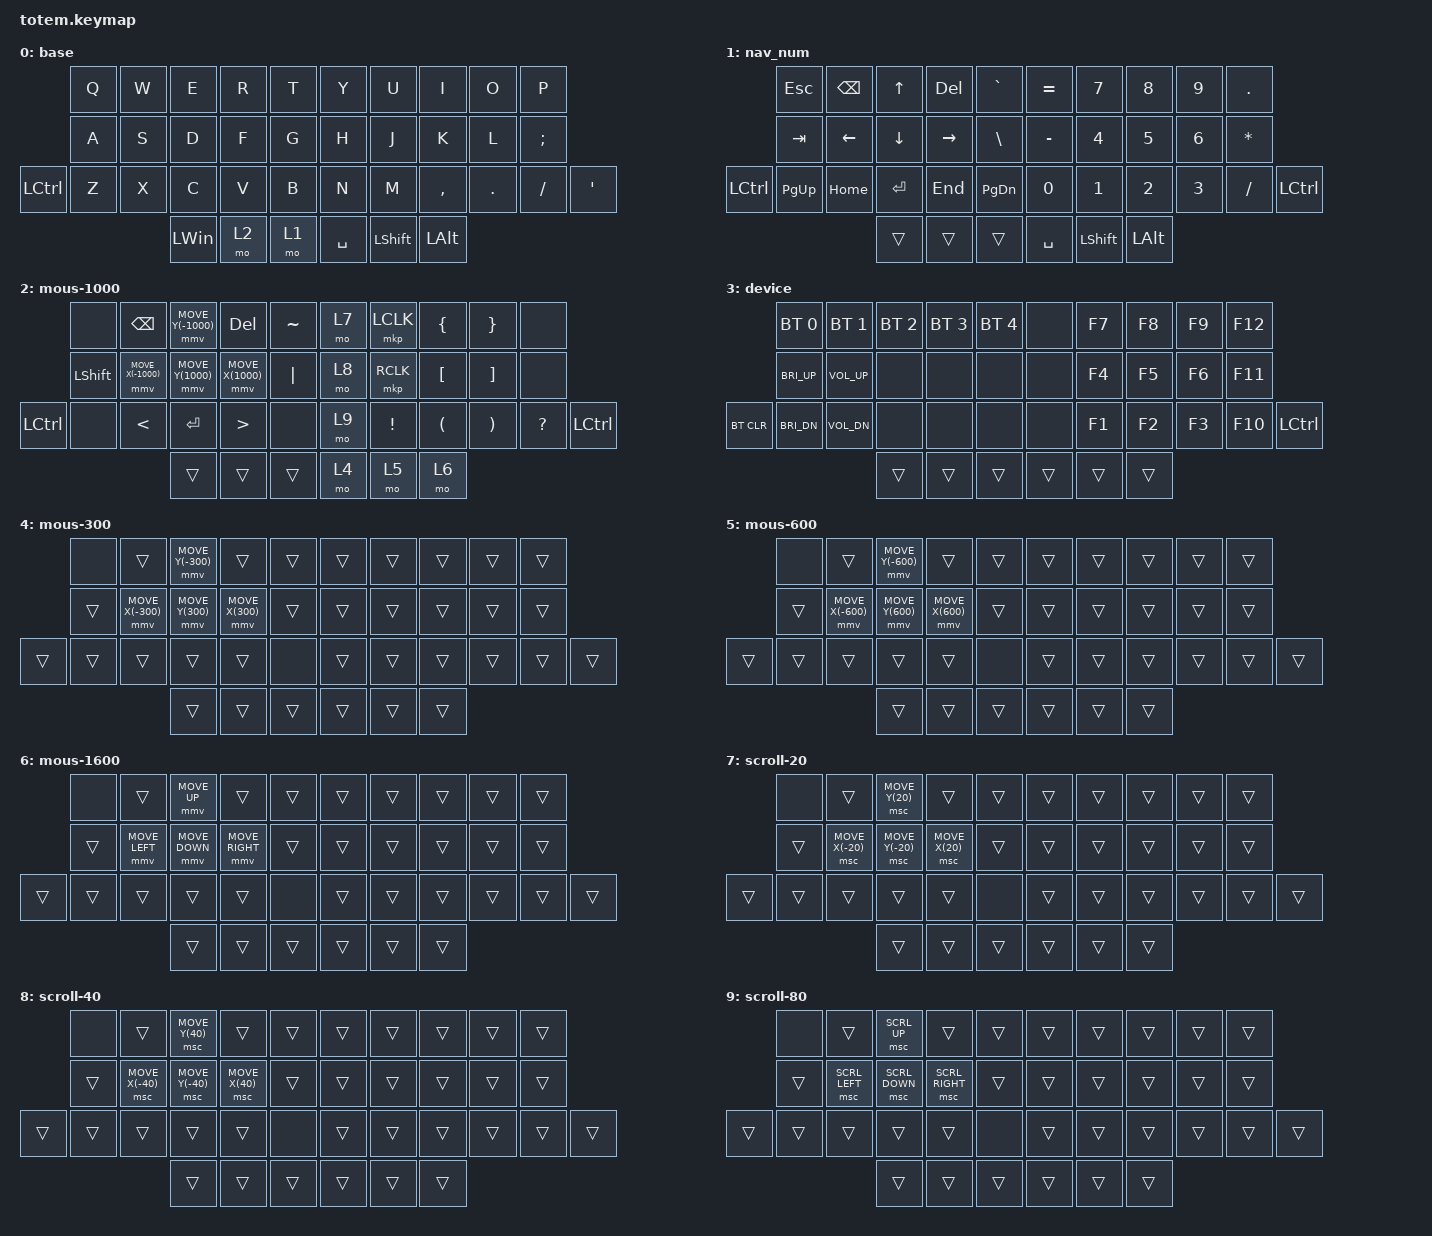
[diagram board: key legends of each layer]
//
//                                                        ▀▀▀▀▀     ▀▀▀▀▀          ▀▀█▀▀
//                                                        ▄▀▀▀▄  ▄  ▄▀▀▀▄  ▄  ▄▀▀▀▄  █  ▄▀▀▀▄
//                                                        █   █  █  █   █  █  █   █  █  █   █
//                                                         ▀▀▀   █   ▀▀▀   █   ▀▀▀   ▀   ▀▀▀
//                                                               █      ▄▄▄█▄▄▄    █   █  
//                                                               ▀      █  █  █     █▄█
//                                                             ▀▀▀▀▀    █  █  █      ▀
//                                                                      ▀  ▀  ▀
//
// ▄▄▄▄▄▄▄▄▄▄▄▄▄▄▄▄▄▄▄▄▄▄▄▄▄▄▄▄▄▄▄▄▄▄▄▄▄▄▄▄▄▄▄▄▄▄▄▄▄▄▄▄▄▄▄▄▄▄▄▄▄▄▄▄▄▄▄▄▄▄▄▄▄▄▄▄▄▄▄▄▄▄▄▄▄▄▄▄▄▄▄▄▄▄▄▄▄▄▄▄▄▄▄▄▄▄▄▄▄▄▄▄▄▄▄▄▄▄▄▄▄▄▄▄▄▄▄▄▄▄▄▄▄▄▄▄▄▄▄▄▄▄▄▄▄▄▄▄▄

#define ZMK_POINTING_DEFAULT_MOVE_VAL 1600  // default: 600
#define ZMK_POINTING_DEFAULT_SCRL_VAL 80    // default: 10

#include <behaviors.dtsi>
#include <dt-bindings/zmk/bt.h>
#include <dt-bindings/zmk/keys.h>
#include <dt-bindings/zmk/pointing.h>

&mmv {
    time-to-max-speed-ms = <100>;
    acceleration-exponent = <1>;
};

&msc { time-to-max-speed-ms = <100>; };

/ {
    combos {
        compatible = "zmk,combos";

        kor+eng {
            bindings = <&kp LANGUAGE_1>;
            key-positions = <28 29 36>;
            layers = <0>;
            require-prior-idle-ms = <0>;
            timeout-ms = <300>;
        };

        kor+chn {
            bindings = <&kp LANGUAGE_2>;
            key-positions = <28 30 36>;
            layers = <0>;
            require-prior-idle-ms = <0>;
            timeout-ms = <300>;
        };

        capslo {
            bindings = <&kp CAPS>;
            key-positions = <30 29 36>;
            layers = <0>;
            require-prior-idle-ms = <0>;
            timeout-ms = <300>;
        };
    };

    keymap {
        compatible = "zmk,keymap";

        base {
            bindings = <
           &kp Q  &kp W  &kp E         &kp R  &kp T    &kp Y      &kp U           &kp I         &kp O    &kp P
           &kp A  &kp S  &kp D         &kp F  &kp G    &kp H      &kp J           &kp K         &kp L    &kp SEMI
&kp LCTRL  &kp Z  &kp X  &kp C         &kp V  &kp B    &kp N      &kp M           &kp COMMA     &kp DOT  &kp FSLH  &kp APOS
                         &kp LEFT_WIN  &mo 2  &mo 1    &kp SPACE  &kp LEFT_SHIFT  &kp LEFT_ALT
            >;
        };

        nav_num {
            bindings = <
                  &kp ESC      &kp BACKSPACE  &kp UP     &kp DELETE  &kp GRAVE        &kp EQUAL  &kp N7          &kp N8        &kp N9  &kp PERIOD
                  &kp TAB      &kp LEFT       &kp DOWN   &kp RIGHT   &kp BACKSLASH    &kp MINUS  &kp N4          &kp N5        &kp N6  &kp ASTERISK
&kp LEFT_CONTROL  &kp PAGE_UP  &kp HOME       &kp ENTER  &kp END     &kp PAGE_DOWN    &kp N0     &kp N1          &kp N2        &kp N3  &kp SLASH     &kp LEFT_CONTROL
                                              &trans     &trans      &trans           &kp SPACE  &kp LEFT_SHIFT  &kp LEFT_ALT
            >;
        };

        mous-1000 {
            bindings = <
                  &none           &kp BACKSPACE       &mmv MOVE_Y(-1000)  &kp DELETE         &kp TILDE    &mo 7  &mkp LCLK        &kp LEFT_BRACE    &kp RIGHT_BRACE    &none
                  &kp LEFT_SHIFT  &mmv MOVE_X(-1000)  &mmv MOVE_Y(1000)   &mmv MOVE_X(1000)  &kp PIPE     &mo 8  &mkp RCLK        &kp LEFT_BRACKET  &kp RIGHT_BRACKET  &none
&kp LEFT_CONTROL  &none           &kp LESS_THAN       &kp ENTER           &kp GREATER_THAN   &none        &mo 9  &kp EXCLAMATION  &kp LPAR          &kp RPAR           &kp QUESTION  &kp LEFT_CONTROL
                                                      &trans              &trans             &trans       &mo 4  &mo 5            &mo 6
            >;
        };

        device {
            bindings = <
            &bt BT_SEL 0  &bt BT_SEL 1  &bt BT_SEL 2  &bt BT_SEL 3  &bt BT_SEL 4    &none   &kp F7  &kp F8  &kp F9  &kp F12
            &kp C_BRI_UP  &kp C_VOL_UP  &none         &none         &none           &none   &kp F4  &kp F5  &kp F6  &kp F11
&bt BT_CLR  &kp C_BRI_DN  &kp C_VOL_DN  &none         &none         &none           &none   &kp F1  &kp F2  &kp F3  &kp F10  &kp LEFT_CONTROL
                                        &trans        &trans        &trans          &trans  &trans  &trans
            >;
        };

        mous-300 {
            bindings = <
        &none   &trans             &mmv MOVE_Y(-300)  &trans            &trans    &trans  &trans  &trans  &trans  &trans
        &trans  &mmv MOVE_X(-300)  &mmv MOVE_Y(300)   &mmv MOVE_X(300)  &trans    &trans  &trans  &trans  &trans  &trans
&trans  &trans  &trans             &trans             &trans            &none     &trans  &trans  &trans  &trans  &trans  &trans
                                   &trans             &trans            &trans    &trans  &trans  &trans
            >;
        };

        mous-600 {
            bindings = <
        &none   &trans             &mmv MOVE_Y(-600)  &trans            &trans    &trans  &trans  &trans  &trans  &trans
        &trans  &mmv MOVE_X(-600)  &mmv MOVE_Y(600)   &mmv MOVE_X(600)  &trans    &trans  &trans  &trans  &trans  &trans
&trans  &trans  &trans             &trans             &trans            &none     &trans  &trans  &trans  &trans  &trans  &trans
                                   &trans             &trans            &trans    &trans  &trans  &trans
            >;
        };

        mous-1600 {
            bindings = <
        &none   &trans          &mmv MOVE_UP    &trans           &trans    &trans  &trans  &trans  &trans  &trans
        &trans  &mmv MOVE_LEFT  &mmv MOVE_DOWN  &mmv MOVE_RIGHT  &trans    &trans  &trans  &trans  &trans  &trans
&trans  &trans  &trans          &trans          &trans           &none     &trans  &trans  &trans  &trans  &trans  &trans
                                &trans          &trans           &trans    &trans  &trans  &trans
            >;
        };

        scroll-20 {
            bindings = <
        &none   &trans            &msc MOVE_Y(20)   &trans           &trans    &trans  &trans  &trans  &trans  &trans
        &trans  &msc MOVE_X(-20)  &msc MOVE_Y(-20)  &msc MOVE_X(20)  &trans    &trans  &trans  &trans  &trans  &trans
&trans  &trans  &trans            &trans            &trans           &none     &trans  &trans  &trans  &trans  &trans  &trans
                                  &trans            &trans           &trans    &trans  &trans  &trans
            >;
        };

        scroll-40 {
            bindings = <
        &none   &trans            &msc MOVE_Y(40)   &trans           &trans    &trans  &trans  &trans  &trans  &trans
        &trans  &msc MOVE_X(-40)  &msc MOVE_Y(-40)  &msc MOVE_X(40)  &trans    &trans  &trans  &trans  &trans  &trans
&trans  &trans  &trans            &trans            &trans           &none     &trans  &trans  &trans  &trans  &trans  &trans
                                  &trans            &trans           &trans    &trans  &trans  &trans
            >;
        };

        scroll-80 {
            bindings = <
        &none   &trans          &msc SCRL_UP    &trans           &trans    &trans  &trans  &trans  &trans  &trans
        &trans  &msc SCRL_LEFT  &msc SCRL_DOWN  &msc SCRL_RIGHT  &trans    &trans  &trans  &trans  &trans  &trans
&trans  &trans  &trans          &trans          &trans           &none     &trans  &trans  &trans  &trans  &trans  &trans
                                &trans          &trans           &trans    &trans  &trans  &trans
            >;
        };
    };

    conditional_layers {
        compatible = "zmk,conditional-layers";

        device {
            if-layers = <1 2>;
            then-layer = <3>;
        };
    };
};
